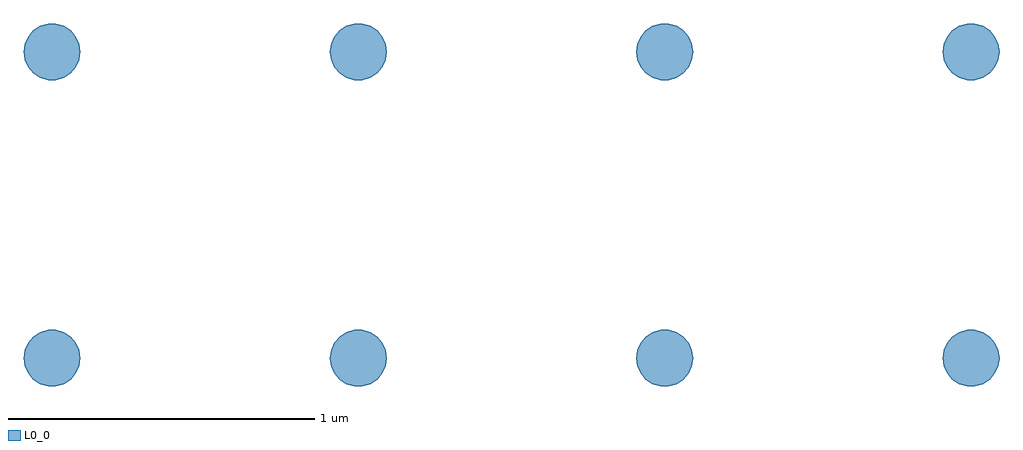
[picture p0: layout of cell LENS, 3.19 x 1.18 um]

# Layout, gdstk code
import gdstk
lib = gdstk.Library(unit=1e-6, precision=1e-09)
def P(c, l, *ps):  # polygons
    for p in ps: c.add(gdstk.Polygon(p, *l))
L0_0 = (0, 0)

circ_93nm = lib.new_cell('Circ_93nm')
P(circ_93nm, L0_0, [(0.093,0),(0.089,0.026),(0.078,0.05),(0.061,0.07),(0.039,0.085),(0.013,0.092),(-0.013,0.092),(-0.039,0.085),(-0.061,0.07),(-0.078,0.05),(-0.089,0.026),(-0.093,0),(-0.089,-0.026),(-0.078,-0.05),(-0.061,-0.07),(-0.039,-0.085),(-0.013,-0.092),(0.013,-0.092),(0.039,-0.085),(0.061,-0.07),(0.078,-0.05),(0.089,-0.026)])

lens = lib.new_cell('LENS')
lens.add(gdstk.Reference(circ_93nm, (0,0)))
lens.add(gdstk.Reference(circ_93nm, (0,1)))
lens.add(gdstk.Reference(circ_93nm, (1,0)))
lens.add(gdstk.Reference(circ_93nm, (1,1)))
lens.add(gdstk.Reference(circ_93nm, (2,0)))
lens.add(gdstk.Reference(circ_93nm, (2,1)))
lens.add(gdstk.Reference(circ_93nm, (3,0)))
lens.add(gdstk.Reference(circ_93nm, (3,1)))

lib.write_gds('LENS.gds')
